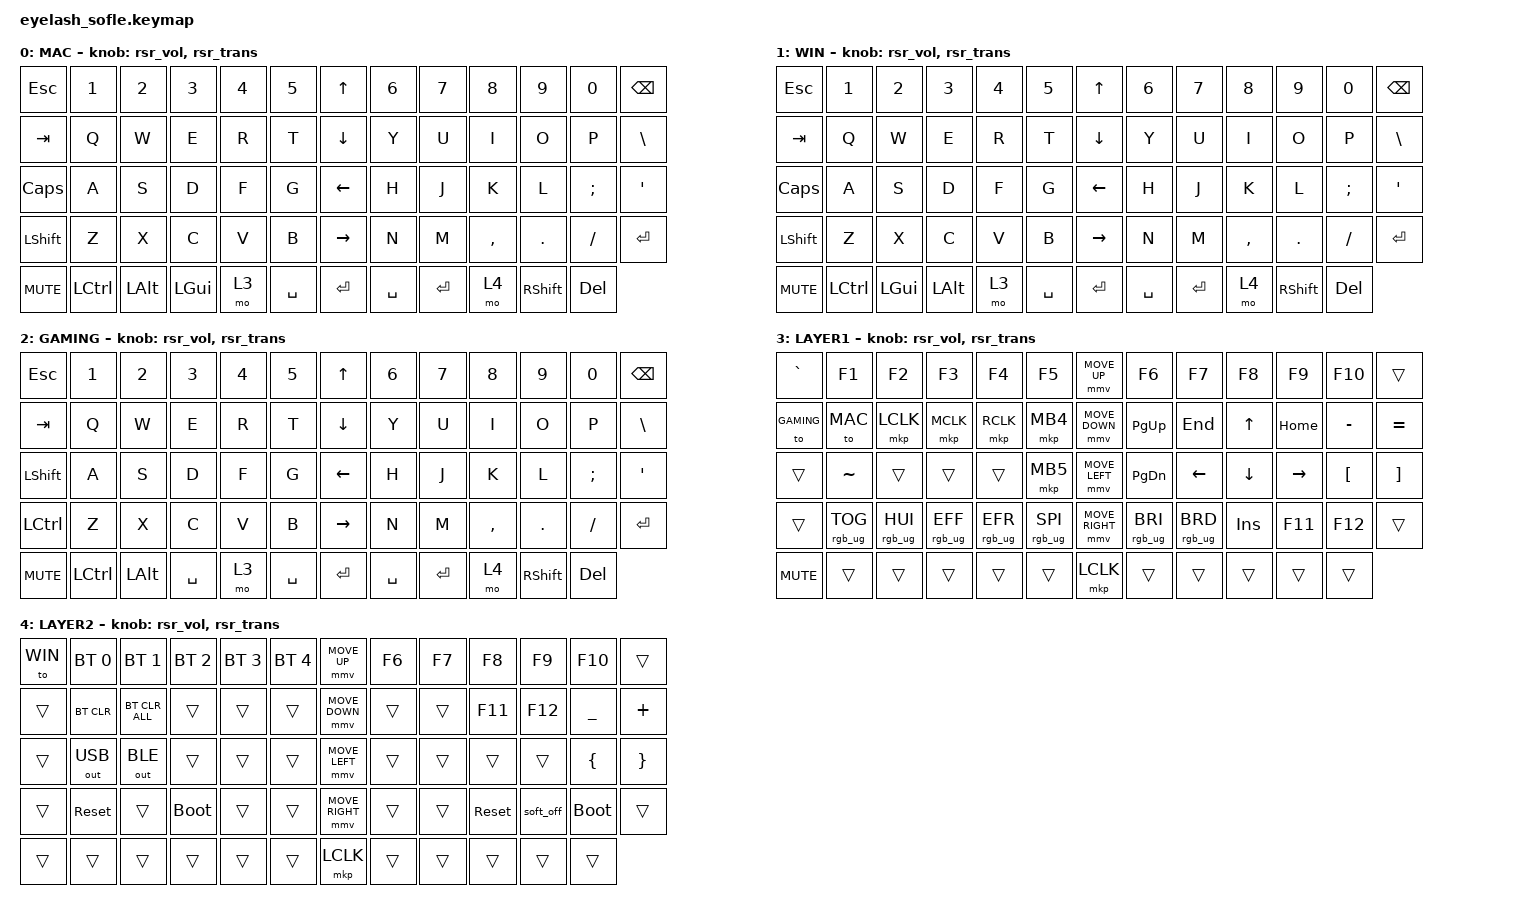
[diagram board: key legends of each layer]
#define ZMK_POINTING_DEFAULT_MOVE_VAL 1200  // 600
#define ZMK_POINTING_DEFAULT_SCRL_VAL 25   // 10

#include <input/processors.dtsi>
#include <zephyr/dt-bindings/input/input-event-codes.h>
#include <behaviors.dtsi>
#include <behaviors/runtime-sensor-rotate.dtsi>
#include <dt-bindings/zmk/bt.h>
#include <dt-bindings/zmk/keys.h>
#include <dt-bindings/zmk/outputs.h>
#include <dt-bindings/zmk/pointing.h>
#include <dt-bindings/zmk/rgb.h>

&mmv_input_listener { input-processors = <&zip_xy_scaler 2 1>; };

&msc_input_listener { input-processors = <&zip_scroll_scaler 2 1>; };

&msc {
    acceleration-exponent = <1>;      // 0
    time-to-max-speed-ms = <100>;       // 300
    delay-ms = <0>;                   // 0
};

&mmv {
    time-to-max-speed-ms = <500>;
    acceleration-exponent = <1>;
    trigger-period-ms = <16>;
};

&soft_off { hold-time-ms = <2000>; };

#define MAC 0
#define WIN 1
#define GAMING 2

/ {
    scroll_encoder: scroll_encoder {
        compatible = "zmk,behavior-sensor-rotate";
        #sensor-binding-cells = <0>;
        bindings = <&msc SCRL_DOWN>, <&msc SCRL_UP>;

        tap-ms = <100>;
    };

    behaviors {
        rsr_vol: rsr_vol {
            compatible = "zmk,behavior-runtime-sensor-rotate";
            #sensor-binding-cells = <0>;
            tap-ms = <5>;
            cw-binding = <&kp C_VOL_UP>;
            ccw-binding = <&kp C_VOL_DN>;
        };

        rsr_trans: rsr_trans {
            compatible = "zmk,behavior-runtime-sensor-rotate";
            #sensor-binding-cells = <0>;
            tap-ms = <0>;
        };
    };

    combos {
        compatible = "zmk,combos";

        softoff {
            bindings = <&soft_off>;
            key-positions = <14 28 40>;
        };
    };

    macros {
        SHIFT_MCLK: SHIFT_MCLK {
            compatible = "zmk,behavior-macro";
            #binding-cells = <0>;
            bindings =
                <&macro_press>,
                <&kp LEFT_SHIFT>,
                <&macro_press>,
                <&mkp MB3>,
                <&macro_pause_for_release>,
                <&macro_release>,
                <&kp LEFT_SHIFT &mkp MB3>;

            label = "SHIFT_MCLK";
        };
    };

    keymap {
        compatible = "zmk,keymap";

        layer_mac {
            bindings = <
&kp ESC     &kp N1     &kp N2        &kp N3        &kp N4  &kp N5       &kp UP_ARROW     &kp N6     &kp N7     &kp N8     &kp N9           &kp N0      &kp BACKSPACE
&kp TAB     &kp Q      &kp W         &kp E         &kp R   &kp T        &kp DOWN_ARROW   &kp Y      &kp U      &kp I      &kp O            &kp P       &kp BSLH
&kp CAPS    &kp A      &kp S         &kp D         &kp F   &kp G        &kp LEFT_ARROW   &kp H      &kp J      &kp K      &kp L            &kp SEMI    &kp APOS
&kp LSHFT   &kp Z      &kp X         &kp C         &kp V   &kp B        &kp RIGHT_ARROW  &kp N      &kp M      &kp COMMA  &kp DOT          &kp FSLH    &kp ENTER
&kp C_MUTE  &kp LCTRL  &kp LEFT_ALT  &kp LEFT_GUI  &mo 3   &kp SPACE    &kp ENTER        &kp SPACE  &kp ENTER  &mo 4      &kp RIGHT_SHIFT  &kp DELETE
            >;

            sensor-bindings = <&rsr_vol &rsr_trans>;
            display-name = "MAC";
        };

        layer0 {
            bindings = <
&kp ESC     &kp N1     &kp N2        &kp N3        &kp N4  &kp N5       &kp UP_ARROW     &kp N6     &kp N7     &kp N8     &kp N9           &kp N0      &kp BACKSPACE
&kp TAB     &kp Q      &kp W         &kp E         &kp R   &kp T        &kp DOWN_ARROW   &kp Y      &kp U      &kp I      &kp O            &kp P       &kp BSLH
&kp CAPS    &kp A      &kp S         &kp D         &kp F   &kp G        &kp LEFT_ARROW   &kp H      &kp J      &kp K      &kp L            &kp SEMI    &kp APOS
&kp LSHFT   &kp Z      &kp X         &kp C         &kp V   &kp B        &kp RIGHT_ARROW  &kp N      &kp M      &kp COMMA  &kp DOT          &kp FSLH    &kp ENTER
&kp C_MUTE  &kp LCTRL  &kp LEFT_GUI  &kp LEFT_ALT  &mo 3   &kp SPACE    &kp ENTER        &kp SPACE  &kp ENTER  &mo 4      &kp RIGHT_SHIFT  &kp DELETE
            >;

            sensor-bindings = <&rsr_vol &rsr_trans>;
            display-name = "WIN";
        };

        layer_gaming {
            bindings = <
&kp ESC     &kp N1     &kp N2        &kp N3        &kp N4  &kp N5       &kp UP_ARROW     &kp N6     &kp N7     &kp N8     &kp N9           &kp N0      &kp BACKSPACE
&kp TAB     &kp Q      &kp W         &kp E         &kp R   &kp T        &kp DOWN_ARROW   &kp Y      &kp U      &kp I      &kp O            &kp P       &kp BSLH
&kp LSHFT   &kp A      &kp S         &kp D         &kp F   &kp G        &kp LEFT_ARROW   &kp H      &kp J      &kp K      &kp L            &kp SEMI    &kp APOS
&kp LCTRL   &kp Z      &kp X         &kp C         &kp V   &kp B        &kp RIGHT_ARROW  &kp N      &kp M      &kp COMMA  &kp DOT          &kp FSLH    &kp ENTER
&kp C_MUTE  &kp LCTRL  &kp LEFT_ALT  &kp SPACE     &mo 3   &kp SPACE    &kp ENTER        &kp SPACE  &kp ENTER  &mo 4      &kp RIGHT_SHIFT  &kp DELETE
            >;

            sensor-bindings = <&rsr_vol &rsr_trans>;
            display-name = "GAMING";
        };

        layer_1 {
            bindings = <
&kp GRAVE   &kp F1           &kp F2          &kp F3           &kp F4           &kp F5             &mmv MOVE_UP     &kp F6           &kp F7           &kp F8      &kp F9     &kp F10           &trans
&to GAMING  &to MAC          &mkp LCLK       &mkp MCLK        &mkp RCLK        &mkp MB4           &mmv MOVE_DOWN   &kp PG_UP        &kp END          &kp UP      &kp HOME   &kp MINUS         &kp EQUAL
&trans      &kp TILDE        &trans          &trans           &trans           &mkp MB5           &mmv MOVE_LEFT   &kp PG_DN        &kp LEFT         &kp DOWN    &kp RIGHT  &kp LEFT_BRACKET  &kp RIGHT_BRACKET
&trans      &rgb_ug RGB_TOG  &rgb_ug RGB_HUI  &rgb_ug RGB_EFF  &rgb_ug RGB_EFR  &rgb_ug RGB_SPI    &mmv MOVE_RIGHT  &rgb_ug RGB_BRI  &rgb_ug RGB_BRD  &kp INSERT  &kp F11    &kp F12           &trans
&kp C_MUTE  &trans           &trans          &trans           &trans           &trans             &mkp LCLK        &trans           &trans           &trans      &trans     &trans
            >;

            sensor-bindings = <&rsr_vol &rsr_trans>;
            display-name = "LAYER1";
        };

        layer_2 {
            bindings = <
&to WIN    &bt BT_SEL 0  &bt BT_SEL 1    &bt BT_SEL 2  &bt BT_SEL 3  &bt BT_SEL 4    &mmv MOVE_UP     &kp F6  &kp F7  &kp F8      &kp F9     &kp F10      &trans
&trans     &bt BT_CLR    &bt BT_CLR_ALL  &trans        &trans        &trans          &mmv MOVE_DOWN   &trans  &trans  &kp F11     &kp F12    &kp UNDER    &kp PLUS
&trans     &out OUT_USB  &out OUT_BLE    &trans        &trans        &trans          &mmv MOVE_LEFT   &trans  &trans  &trans      &trans     &kp LBRC     &kp RBRC
&trans     &sys_reset    &trans          &bootloader   &trans        &trans          &mmv MOVE_RIGHT  &trans  &trans  &sys_reset  &soft_off  &bootloader  &trans
&trans     &trans        &trans          &trans        &trans        &trans          &mkp LCLK        &trans  &trans  &trans      &trans     &trans
            >;

            display-name = "LAYER2";
            sensor-bindings = <&rsr_vol &rsr_trans>;
        };
    };
};
